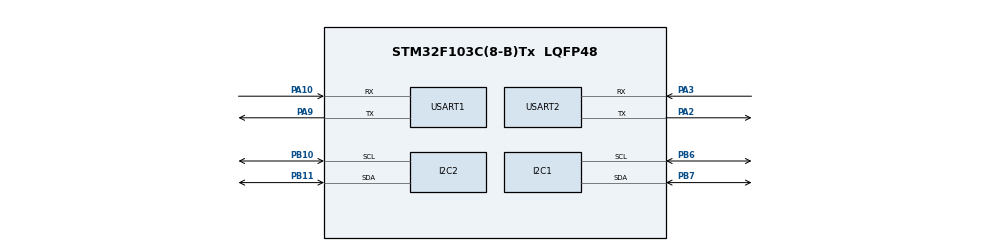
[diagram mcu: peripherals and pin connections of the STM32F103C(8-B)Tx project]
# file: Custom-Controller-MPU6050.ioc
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Dma.Request0=USART2_RX
Dma.Request1=USART2_TX
Dma.Request2=USART1_RX
Dma.Request3=USART1_TX
Dma.USART1_RX.2.Direction=DMA_PERIPH_TO_MEMORY
Dma.USART1_RX.2.Instance=DMA1_Channel5
Dma.USART1_RX.2.MemDataAlignment=DMA_MDATAALIGN_BYTE
Dma.USART1_RX.2.MemInc=DMA_MINC_ENABLE
Dma.USART1_RX.2.Mode=DMA_NORMAL
Dma.USART1_RX.2.PeriphDataAlignment=DMA_PDATAALIGN_BYTE
Dma.USART1_RX.2.PeriphInc=DMA_PINC_DISABLE
Dma.USART1_RX.2.Priority=DMA_PRIORITY_LOW
Dma.USART1_TX.3.Direction=DMA_MEMORY_TO_PERIPH
Dma.USART1_TX.3.Instance=DMA1_Channel4
Dma.USART1_TX.3.MemDataAlignment=DMA_MDATAALIGN_BYTE
Dma.USART1_TX.3.MemInc=DMA_MINC_ENABLE
Dma.USART1_TX.3.Mode=DMA_NORMAL
Dma.USART1_TX.3.PeriphDataAlignment=DMA_PDATAALIGN_BYTE
Dma.USART1_TX.3.PeriphInc=DMA_PINC_DISABLE
Dma.USART1_TX.3.Priority=DMA_PRIORITY_LOW
Dma.USART2_RX.0.Direction=DMA_PERIPH_TO_MEMORY
Dma.USART2_RX.0.Instance=DMA1_Channel6
Dma.USART2_RX.0.MemDataAlignment=DMA_MDATAALIGN_BYTE
Dma.USART2_RX.0.MemInc=DMA_MINC_ENABLE
Dma.USART2_RX.0.Mode=DMA_NORMAL
Dma.USART2_RX.0.PeriphDataAlignment=DMA_PDATAALIGN_BYTE
Dma.USART2_RX.0.PeriphInc=DMA_PINC_DISABLE
Dma.USART2_RX.0.Priority=DMA_PRIORITY_LOW
Dma.USART2_TX.1.Direction=DMA_MEMORY_TO_PERIPH
Dma.USART2_TX.1.Instance=DMA1_Channel7
Dma.USART2_TX.1.MemDataAlignment=DMA_MDATAALIGN_BYTE
Dma.USART2_TX.1.MemInc=DMA_MINC_ENABLE
Dma.USART2_TX.1.Mode=DMA_NORMAL
Dma.USART2_TX.1.PeriphDataAlignment=DMA_PDATAALIGN_BYTE
Dma.USART2_TX.1.PeriphInc=DMA_PINC_DISABLE
Dma.USART2_TX.1.Priority=DMA_PRIORITY_LOW
Mcu.Family=STM32F1
Mcu.Name=STM32F103C(8-B)Tx
Mcu.Package=LQFP48
NVIC.DMA1_Channel4_IRQn=true\:0\:0\:false\:false\:true\:false\:true\:true
NVIC.DMA1_Channel5_IRQn=true\:0\:0\:false\:false\:true\:false\:true\:true
NVIC.DMA1_Channel6_IRQn=true\:0\:0\:false\:false\:true\:false\:true\:true
NVIC.DMA1_Channel7_IRQn=true\:0\:0\:false\:false\:true\:false\:true\:true
NVIC.PriorityGroup=NVIC_PRIORITYGROUP_4
NVIC.USART1_IRQn=true\:0\:0\:false\:false\:true\:true\:true\:true
NVIC.USART2_IRQn=true\:0\:0\:false\:false\:true\:true\:true\:true
PA10.Mode=Asynchronous
PA10.Signal=USART1_RX
PA13.Mode=Serial_Wire
PA13.Signal=SYS_JTMS-SWDIO
PA14.Mode=Serial_Wire
PA14.Signal=SYS_JTCK-SWCLK
PA2.Mode=Asynchronous
PA2.Signal=USART2_TX
PA3.Mode=Asynchronous
PA3.Signal=USART2_RX
PA9.Mode=Asynchronous
PA9.Signal=USART1_TX
PB10.Mode=I2C
PB10.Signal=I2C2_SCL
PB11.Mode=I2C
PB11.Signal=I2C2_SDA
PB6.Mode=I2C
PB6.Signal=I2C1_SCL
PB7.Mode=I2C
PB7.Signal=I2C1_SDA
ProjectManager.HeapSize=0x200
ProjectManager.StackSize=0x400
ProjectManager.TargetToolchain=STM32CubeIDE
RCC.APB1Freq_Value=8000000
RCC.APB2Freq_Value=8000000
USART1.VirtualMode=VM_ASYNC
USART2.VirtualMode=VM_ASYNC
VP_CRC_VS_CRC.Mode=CRC_Activate
board=custom

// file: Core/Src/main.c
/* USER CODE BEGIN Header */
/**
  ******************************************************************************
  * @file           : main.c
  * @brief          : Main program body
  ******************************************************************************
  * @attention
  *
  * Copyright (c) 2026 STMicroelectronics.
  * All rights reserved.
  *
  * This software is licensed under terms that can be found in the LICENSE file
  * in the root directory of this software component.
  * If no LICENSE file comes with this software, it is provided AS-IS.
  *
  ******************************************************************************
  */
/* USER CODE END Header */
#include "main.h"
#include "crc.h"
#include "dma.h"
#include "i2c.h"
#include "usart.h"
#include "gpio.h"

/* USER CODE BEGIN Includes */
#include "UARTComms.h"
#include "OLED.h"
#include "OLED_Font.h"
#include "MPU6050.h"
#include "string.h"
/* USER CODE END Includes */

void SystemClock_Config(void);

int main(void)
{

  /* MCU Configuration--------------------------------------------------------*/

  /* Reset of all peripherals, Initializes the Flash interface and the Systick. */
  HAL_Init();

  /* Configure the system clock */
  SystemClock_Config();

  /* Initialize all configured peripherals */
  MX_GPIO_Init();
  MX_DMA_Init();
  MX_I2C1_Init();
  MX_USART2_UART_Init();
  MX_CRC_Init();
  MX_I2C2_Init();
  MX_USART1_UART_Init();
  /* USER CODE BEGIN 2 */
  UARTComms_Init();
  OLED_Init();
  MPU6050_Init();
  MPU6050_Data_t MPU6050_Data={0};
  MPU6050_Calibrate(&MPU6050_Data);
  uint8_t i=0;
  uint8_t buffer[50];
  /* USER CODE END 2 */

  /* Infinite loop */
  /* USER CODE BEGIN WHILE */
  while (1)
  {
	  HAL_Delay(10);
	  MPU6050_ReadAll(&MPU6050_Data);
    MPU6050_ProcessData(&MPU6050_Data);
    if(i==50)
    {
//	  OLED_ShowFloat(1, 1, MPU6050_Data.AccelX, 3);
//	  OLED_ShowFloat(1, 6, MPU6050_Data.AccelY, 3);
//	  OLED_ShowFloat(1, 11, MPU6050_Data.AccelZ, 3);
//	  OLED_ShowFloat(2, 1, MPU6050_Data.GyroX, 3);
//	  OLED_ShowFloat(2, 6, MPU6050_Data.GyroY, 3);
//	  OLED_ShowFloat(2, 11, MPU6050_Data.GyroZ, 3);
    OLED_ClearLine(1, 1, 6);
    OLED_ClearLine(2, 1, 6);
    OLED_ClearLine(3, 1, 6);
    OLED_ShowFloat(1, 1, MPU6050_Data.Pitch, 1);
    OLED_ShowFloat(2, 1, MPU6050_Data.Roll, 1);
    OLED_ShowFloat(3, 1, MPU6050_Data.Yaw, 1);
    memcpy(buffer, &MPU6050_Data.Pitch, sizeof(MPU6050_Data.Pitch));
    memcpy(buffer + sizeof(MPU6050_Data.Pitch), &MPU6050_Data.Roll, sizeof(MPU6050_Data.Roll));
    //memcpy(buffer + sizeof(MPU6050_Data.Pitch) + sizeof(MPU6050_Data.Roll), &MPU6050_Data.Yaw, sizeof(MPU6050_Data.Yaw));
    UARTComms_Transmmit_Data(0x01, buffer, 8);
    i=0;
    }
    i++;
    /* USER CODE END WHILE */

  }
}

void SystemClock_Config(void)
{
  RCC_OscInitTypeDef RCC_OscInitStruct = {0};
  RCC_ClkInitTypeDef RCC_ClkInitStruct = {0};

  /** Initializes the RCC Oscillators according to the specified parameters
  * in the RCC_OscInitTypeDef structure.
  */
  RCC_OscInitStruct.OscillatorType = RCC_OSCILLATORTYPE_HSI;
  RCC_OscInitStruct.HSIState = RCC_HSI_ON;
  RCC_OscInitStruct.HSICalibrationValue = RCC_HSICALIBRATION_DEFAULT;
  RCC_OscInitStruct.PLL.PLLState = RCC_PLL_NONE;
  if (HAL_RCC_OscConfig(&RCC_OscInitStruct) != HAL_OK)
  {
    Error_Handler();
  }

  /** Initializes the CPU, AHB and APB buses clocks
  */
  RCC_ClkInitStruct.ClockType = RCC_CLOCKTYPE_HCLK|RCC_CLOCKTYPE_SYSCLK
                              |RCC_CLOCKTYPE_PCLK1|RCC_CLOCKTYPE_PCLK2;
  RCC_ClkInitStruct.SYSCLKSource = RCC_SYSCLKSOURCE_HSI;
  RCC_ClkInitStruct.AHBCLKDivider = RCC_SYSCLK_DIV1;
  RCC_ClkInitStruct.APB1CLKDivider = RCC_HCLK_DIV1;
  RCC_ClkInitStruct.APB2CLKDivider = RCC_HCLK_DIV1;

  if (HAL_RCC_ClockConfig(&RCC_ClkInitStruct, FLASH_LATENCY_0) != HAL_OK)
  {
    Error_Handler();
  }
}

void Error_Handler(void)
{
  __disable_irq();
  while (1)
  {
  }
}
